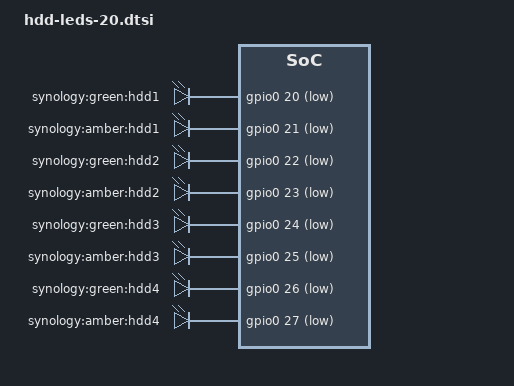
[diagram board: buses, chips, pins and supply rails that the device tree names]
/*
 * Andrew Lunn <andrew@lunn.ch>
 *
 * This file is licensed under the terms of the GNU General Public
 * License version 2.  This program is licensed "as is" without any
 * warranty of any kind, whether express or implied.
 */

/ {
	ocp@f1000000 {
		pinctrl: pinctrl@10000 {

			pmx_led_20: pmx-led-20 {
				marvell,pins = "mpp20";
				marvell,function = "gpio";
			};
			pmx_led_21: pmx-led-21 {
				marvell,pins = "mpp21";
				marvell,function = "gpio";
			};
			pmx_led_22: pmx-led-22 {
				marvell,pins = "mpp22";
				marvell,function = "gpio";
			};
			pmx_led_23: pmx-led-23 {
				marvell,pins = "mpp23";
				marvell,function = "gpio";
			};
			pmx_led_24: pmx-led-24 {
				marvell,pins = "mpp24";
				marvell,function = "gpio";
			};
			pmx_led_25: pmx-led-25 {
				marvell,pins = "mpp25";
				marvell,function = "gpio";
			};
			pmx_led_26: pmx-led-26 {
				marvell,pins = "mpp26";
				marvell,function = "gpio";
			};
			pmx_led_27: pmx-led-27 {
				marvell,pins = "mpp27";
				marvell,function = "gpio";
			};
			pmx_led_28: pmx-led-28 {
				marvell,pins = "mpp28";
				marvell,function = "gpio";
			};
		};
	};
	gpio-leds {
		compatible = "gpio-leds";
		pinctrl-0 = <&pmx_led_20 &pmx_led_21 &pmx_led_22
			     &pmx_led_23 &pmx_led_24 &pmx_led_25
			     &pmx_led_26 &pmx_led_27>;
		pinctrl-names = "default";
		hdd1-green {
			label = "synology:green:hdd1";
			gpios = <&gpio0 20 GPIO_ACTIVE_LOW>;
		};
		hdd1-amber {
			label = "synology:amber:hdd1";
			gpios = <&gpio0 21 GPIO_ACTIVE_LOW>;
		};
		hdd2-green {
			label = "synology:green:hdd2";
			gpios = <&gpio0 22 GPIO_ACTIVE_LOW>;
		};
		hdd2-amber {
			label = "synology:amber:hdd2";
			gpios = <&gpio0 23 GPIO_ACTIVE_LOW>;
		};
		hdd3-green {
			label = "synology:green:hdd3";
			gpios = <&gpio0 24 GPIO_ACTIVE_LOW>;
		};
		hdd3-amber {
			label = "synology:amber:hdd3";
			gpios = <&gpio0 25 GPIO_ACTIVE_LOW>;
		};
		hdd4-green {
			label = "synology:green:hdd4";
			gpios = <&gpio0 26 GPIO_ACTIVE_LOW>;
		};
		hdd4-amber {
			label = "synology:amber:hdd4";
			gpios = <&gpio0 27 GPIO_ACTIVE_LOW>;
		};
	};
};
